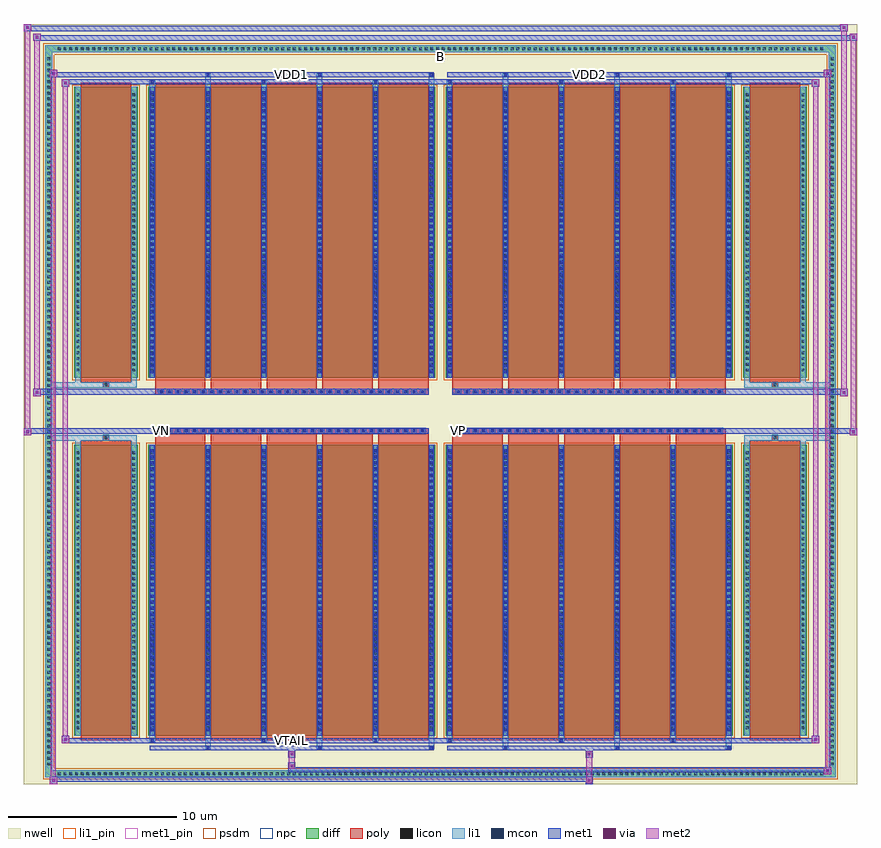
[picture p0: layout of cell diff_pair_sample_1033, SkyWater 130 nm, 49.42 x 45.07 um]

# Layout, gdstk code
import gdstk
lib = gdstk.Library(unit=1e-6, precision=5e-09)
def R(c, l, rs):  # rectangles x0, y0, x1, y1
    for r in rs: c.add(gdstk.rectangle(r[:2], r[2:], *l))
def A(c, l, x, y, w, h, nx, ny, dx, dy):  # array of equal rectangles
    R(c, l, [(x+i*dx, y+j*dy, x+i*dx+w, y+j*dy+h) for i in range(nx) for j in range(ny)])
def P(c, l, *ps):  # polygons
    for p in ps: c.add(gdstk.Polygon(p, *l))
nwell = (64, 20)
diff = (65, 20)
poly = (66, 20)
licon = (66, 44)
li1_pin = (67, 16)
li1 = (67, 20)
mcon = (67, 44)
met1_pin = (68, 16)
met1 = (68, 20)
via = (68, 44)
met2 = (69, 20)
psdm = (94, 20)
npc = (95, 20)

diff_pair_sample_1033 = lib.new_cell('diff_pair_sample_1033')
R(diff_pair_sample_1033, nwell, [(-24.71,-22.1,24.71,22.97), (-22.03,-20.29,-0.01,-0.795), (0.01,-20.29,22.03,-0.795), (-22.03,0.795,-0.01,20.29), (0.01,0.795,22.03,20.29)])
A(diff_pair_sample_1033, diff, -22.815, -21.7, 0.41, 0.41, 134, 2, 0.34, 42.99)
A(diff_pair_sample_1033, diff, -23.44, -21.115, 0.41, 0.41, 1, 124, 0, 0.34)
A(diff_pair_sample_1033, diff, 23.03, -21.115, 0.41, 0.41, 1, 124, 0, 0.34)
R(diff_pair_sample_1033, diff, [(-22.815,-21.7,22.815,-21.29), (-23.44,-21.115,-23.03,21.115), (23.03,-21.115,23.44,21.115), (-21.72,-19.245,-17.96,-1.985), (-17.32,-19.245,-0.32,-1.985), (0.32,-19.245,17.32,-1.985), (17.96,-19.245,21.72,-1.985), (-21.72,1.985,-17.96,19.245), (-17.32,1.985,-0.32,19.245), (0.32,1.985,17.32,19.245), (17.96,1.985,21.72,19.245), (-22.815,21.29,22.815,21.7)])
P(diff_pair_sample_1033, diff, [(23.44,21.7),(-23.44,21.7),(-23.44,-21.29),(-23.03,-21.29),(-23.03,21.29),(23.03,21.29),(23.03,-21.29),(-23.03,-21.29),(-23.44,-21.29),(-23.44,-21.7),(23.44,-21.7)])
A(diff_pair_sample_1033, poly, -16.93, -19.495, 2.98, 17.76, 5, 2, 3.31, 21.23)
A(diff_pair_sample_1033, poly, 0.71, -19.495, 2.98, 17.76, 5, 2, 3.31, 21.23)
A(diff_pair_sample_1033, poly, -16.93, -1.735, 2.98, 0.41, 5, 2, 3.31, 3.06)
A(diff_pair_sample_1033, poly, 0.71, -1.735, 2.98, 0.41, 5, 2, 3.31, 3.06)
A(diff_pair_sample_1033, poly, -16.735, -1.325, 0.33, 0.33, 32, 2, 0.5, 2.32)
A(diff_pair_sample_1033, poly, 0.905, -1.325, 0.33, 0.33, 32, 2, 0.5, 2.32)
R(diff_pair_sample_1033, poly, [(-21.33,-19.495,-18.35,-1.735), (18.35,-19.495,21.33,-1.735), (-20.005,-1.735,-19.675,-1.405), (-20.005,-1.735,-19.675,-1.405), (19.675,-1.735,20.005,-1.405), (19.675,-1.735,20.005,-1.405), (-16.93,-1.325,-0.71,-0.995), (0.71,-1.325,16.93,-0.995), (-16.93,0.995,-0.71,1.325), (0.71,0.995,16.93,1.325), (-20.005,1.405,-19.675,1.735), (-20.005,1.405,-19.675,1.735), (19.675,1.405,20.005,1.735), (19.675,1.405,20.005,1.735), (-21.33,1.735,-18.35,19.495), (18.35,1.735,21.33,19.495)])
A(diff_pair_sample_1033, licon, -22.695, -21.58, 0.17, 0.17, 134, 2, 0.34, 42.99)
A(diff_pair_sample_1033, licon, -23.32, -20.995, 0.17, 0.17, 1, 124, 0, 0.34)
A(diff_pair_sample_1033, licon, 23.15, -20.995, 0.17, 0.17, 1, 124, 0, 0.34)
A(diff_pair_sample_1033, licon, -21.58, -18.86, 0.17, 0.17, 1, 49, 0, 0.34)
A(diff_pair_sample_1033, licon, -18.27, -18.86, 0.17, 0.17, 1, 49, 0, 0.34)
A(diff_pair_sample_1033, licon, -17.18, -18.86, 0.17, 0.17, 6, 49, 3.31, 0.34)
A(diff_pair_sample_1033, licon, 0.46, -18.86, 0.17, 0.17, 6, 49, 3.31, 0.34)
A(diff_pair_sample_1033, licon, 18.1, -18.86, 0.17, 0.17, 1, 49, 0, 0.34)
A(diff_pair_sample_1033, licon, 21.41, -18.86, 0.17, 0.17, 1, 49, 0, 0.34)
A(diff_pair_sample_1033, licon, -16.655, -1.245, 0.17, 0.17, 32, 2, 0.5, 2.32)
A(diff_pair_sample_1033, licon, 0.985, -1.245, 0.17, 0.17, 32, 2, 0.5, 2.32)
A(diff_pair_sample_1033, licon, -21.58, 2.37, 0.17, 0.17, 1, 49, 0, 0.34)
A(diff_pair_sample_1033, licon, -18.27, 2.37, 0.17, 0.17, 1, 49, 0, 0.34)
A(diff_pair_sample_1033, licon, -17.18, 2.37, 0.17, 0.17, 6, 49, 3.31, 0.34)
A(diff_pair_sample_1033, licon, 0.46, 2.37, 0.17, 0.17, 6, 49, 3.31, 0.34)
A(diff_pair_sample_1033, licon, 18.1, 2.37, 0.17, 0.17, 1, 49, 0, 0.34)
A(diff_pair_sample_1033, licon, 21.41, 2.37, 0.17, 0.17, 1, 49, 0, 0.34)
R(diff_pair_sample_1033, licon, [(-19.925,-1.655,-19.755,-1.485), (19.755,-1.655,19.925,-1.485), (-19.925,1.485,-19.755,1.655), (19.755,1.485,19.925,1.655)])
R(diff_pair_sample_1033, li1_pin, [(-0.25,20.79,0.25,21.29)])
A(diff_pair_sample_1033, li1, -22.775, -21.66, 0.33, 0.33, 134, 2, 0.34, 42.99)
A(diff_pair_sample_1033, li1, -23.4, -21.075, 0.33, 0.33, 1, 124, 0, 0.34)
A(diff_pair_sample_1033, li1, 23.07, -21.075, 0.33, 0.33, 1, 124, 0, 0.34)
A(diff_pair_sample_1033, li1, -13.95, -20.05, 0.33, 0.805, 3, 2, 6.62, 39.295)
A(diff_pair_sample_1033, li1, -13.87, -20.05, 0.17, 0.17, 3, 2, 6.62, 39.93)
A(diff_pair_sample_1033, li1, 3.69, -20.05, 0.33, 0.805, 3, 2, 6.62, 39.295)
A(diff_pair_sample_1033, li1, 3.77, -20.05, 0.17, 0.17, 3, 2, 6.62, 39.93)
A(diff_pair_sample_1033, li1, -17.26, -19.62, 0.33, 0.375, 3, 2, 6.62, 38.865)
A(diff_pair_sample_1033, li1, -17.18, -19.62, 0.17, 0.17, 3, 2, 6.62, 39.07)
A(diff_pair_sample_1033, li1, 0.38, -19.62, 0.33, 0.375, 3, 2, 6.62, 38.865)
A(diff_pair_sample_1033, li1, 0.46, -19.62, 0.17, 0.17, 3, 2, 6.62, 39.07)
A(diff_pair_sample_1033, li1, -17.26, -19.245, 0.33, 17.26, 6, 2, 3.31, 21.23)
A(diff_pair_sample_1033, li1, 0.38, -19.245, 0.33, 17.26, 6, 2, 3.31, 21.23)
A(diff_pair_sample_1033, li1, -17.18, -18.98, 0.17, 0.17, 6, 47, 3.31, 0.36)
A(diff_pair_sample_1033, li1, -17.18, -18.98, 0.17, 16.73, 6, 2, 3.31, 21.23)
A(diff_pair_sample_1033, li1, 0.46, -18.98, 0.17, 0.17, 6, 47, 3.31, 0.36)
A(diff_pair_sample_1033, li1, 0.46, -18.98, 0.17, 16.73, 6, 2, 3.31, 21.23)
A(diff_pair_sample_1033, li1, -21.66, -18.94, 0.33, 0.33, 1, 49, 0, 0.34)
A(diff_pair_sample_1033, li1, -18.35, -18.94, 0.33, 0.33, 1, 49, 0, 0.34)
A(diff_pair_sample_1033, li1, -17.26, -18.94, 0.33, 0.33, 6, 49, 3.31, 0.34)
A(diff_pair_sample_1033, li1, 0.38, -18.94, 0.33, 0.33, 6, 49, 3.31, 0.34)
A(diff_pair_sample_1033, li1, 18.02, -18.94, 0.33, 0.33, 1, 49, 0, 0.34)
A(diff_pair_sample_1033, li1, 21.33, -18.94, 0.33, 0.33, 1, 49, 0, 0.34)
A(diff_pair_sample_1033, li1, -16.735, -1.325, 0.33, 0.33, 32, 2, 0.5, 2.32)
A(diff_pair_sample_1033, li1, 0.905, -1.325, 0.33, 0.33, 32, 2, 0.5, 2.32)
A(diff_pair_sample_1033, li1, -17.18, 2.25, 0.17, 0.17, 6, 47, 3.31, 0.36)
A(diff_pair_sample_1033, li1, 0.46, 2.25, 0.17, 0.17, 6, 47, 3.31, 0.36)
A(diff_pair_sample_1033, li1, -21.66, 2.29, 0.33, 0.33, 1, 49, 0, 0.34)
A(diff_pair_sample_1033, li1, -18.35, 2.29, 0.33, 0.33, 1, 49, 0, 0.34)
A(diff_pair_sample_1033, li1, -17.26, 2.29, 0.33, 0.33, 6, 49, 3.31, 0.34)
A(diff_pair_sample_1033, li1, 0.38, 2.29, 0.33, 0.33, 6, 49, 3.31, 0.34)
A(diff_pair_sample_1033, li1, 18.02, 2.29, 0.33, 0.33, 1, 49, 0, 0.34)
A(diff_pair_sample_1033, li1, 21.33, 2.29, 0.33, 0.33, 1, 49, 0, 0.34)
R(diff_pair_sample_1033, li1, [(-23.44,-21.7,-23.03,-21.29), (-23.44,-21.7,-23.03,-21.29), (-23.03,-21.7,23.03,-21.29), (23.03,-21.7,23.44,-21.29), (23.03,-21.7,23.44,-21.29), (-23.44,-21.29,-23.03,21.29), (23.03,-21.29,23.44,21.29), (-21.66,-19.245,-21.33,-1.985), (-18.35,-19.245,-18.02,-1.985), (18.02,-19.245,18.35,-1.985), (21.33,-19.245,21.66,-1.985), (-21.66,-1.985,-21.33,-1.405), (-18.35,-1.985,-18.02,-1.405), (18.02,-1.985,18.35,-1.405), (21.33,-1.985,21.66,-1.405), (-23.44,-1.735,-20.005,-1.405), (-21.66,-1.735,-20.005,-1.405), (-20.005,-1.735,-19.675,-1.405), (-19.675,-1.735,-18.02,-1.405), (18.02,-1.735,19.675,-1.405), (19.675,-1.735,20.005,-1.405), (19.675,-1.735,23.44,-1.405), (20.005,-1.735,21.66,-1.405), (-23.44,1.405,-20.005,1.735), (-21.66,1.405,-20.005,1.735), (-21.66,1.405,-21.33,1.985), (-20.005,1.405,-19.675,1.735), (-19.675,1.405,-18.02,1.735), (-18.35,1.405,-18.02,1.985), (18.02,1.405,19.675,1.735), (18.02,1.405,18.35,1.985), (19.675,1.405,20.005,1.735), (19.675,1.405,23.44,1.735), (20.005,1.405,21.66,1.735), (21.33,1.405,21.66,1.985), (-21.66,1.985,-21.33,19.245), (-18.35,1.985,-18.02,19.245), (18.02,1.985,18.35,19.245), (21.33,1.985,21.66,19.245), (-23.44,21.29,-23.03,21.7), (-23.44,21.29,-23.03,21.7), (-23.03,21.29,23.03,21.7), (23.03,21.29,23.44,21.7), (23.03,21.29,23.44,21.7)])
A(diff_pair_sample_1033, mcon, -13.87, -20.05, 0.17, 0.17, 3, 2, 6.62, 39.93)
A(diff_pair_sample_1033, mcon, 3.77, -20.05, 0.17, 0.17, 3, 2, 6.62, 39.93)
A(diff_pair_sample_1033, mcon, -17.18, -19.62, 0.17, 0.17, 3, 2, 6.62, 39.07)
A(diff_pair_sample_1033, mcon, 0.46, -19.62, 0.17, 0.17, 3, 2, 6.62, 39.07)
A(diff_pair_sample_1033, mcon, -17.18, -18.98, 0.17, 0.17, 6, 47, 3.31, 0.36)
A(diff_pair_sample_1033, mcon, 0.46, -18.98, 0.17, 0.17, 6, 47, 3.31, 0.36)
A(diff_pair_sample_1033, mcon, -16.655, -1.245, 0.17, 0.17, 32, 2, 0.5, 2.32)
A(diff_pair_sample_1033, mcon, 0.985, -1.245, 0.17, 0.17, 32, 2, 0.5, 2.32)
A(diff_pair_sample_1033, mcon, -17.18, 2.25, 0.17, 0.17, 6, 47, 3.31, 0.36)
A(diff_pair_sample_1033, mcon, 0.46, 2.25, 0.17, 0.17, 6, 47, 3.31, 0.36)
R(diff_pair_sample_1033, met1_pin, [(-8.955,-19.66,-8.685,-19.39), (-16.705,-1.285,-16.435,-1.015), (0.935,-1.285,1.205,-1.015), (-8.955,19.84,-8.685,20.11), (8.685,19.84,8.955,20.11)])
A(diff_pair_sample_1033, met1, -13.93, -20.11, 0.29, 0.29, 3, 2, 6.62, 39.93)
A(diff_pair_sample_1033, met1, 3.71, -20.11, 0.29, 0.29, 3, 2, 6.62, 39.93)
A(diff_pair_sample_1033, met1, -17.24, -19.68, 0.29, 0.29, 3, 2, 6.62, 39.07)
A(diff_pair_sample_1033, met1, 0.4, -19.68, 0.29, 0.29, 3, 2, 6.62, 39.07)
A(diff_pair_sample_1033, met1, -17.24, -19.245, 0.29, 17.26, 6, 2, 3.31, 21.23)
A(diff_pair_sample_1033, met1, 0.4, -19.245, 0.29, 17.26, 6, 2, 3.31, 21.23)
A(diff_pair_sample_1033, met1, -17.24, -19.04, 0.29, 0.29, 6, 47, 3.31, 0.36)
A(diff_pair_sample_1033, met1, 0.4, -19.04, 0.29, 0.29, 6, 47, 3.31, 0.36)
A(diff_pair_sample_1033, met1, -16.715, -1.305, 0.29, 0.29, 32, 2, 0.5, 2.32)
A(diff_pair_sample_1033, met1, 0.925, -1.305, 0.29, 0.29, 32, 2, 0.5, 2.32)
A(diff_pair_sample_1033, met1, -17.24, 2.19, 0.29, 0.29, 6, 47, 3.31, 0.36)
A(diff_pair_sample_1033, met1, 0.4, 2.19, 0.29, 0.29, 6, 47, 3.31, 0.36)
R(diff_pair_sample_1033, met1, [(-23.17,-22.1,-22.74,-21.67), (8.605,-22.1,9.035,-21.67), (-23.17,-21.96,9.035,-21.67), (22.74,-21.53,23.17,-21.1), (-9.035,-21.39,23.17,-21.1), (-9.035,-21.25,-8.605,-20.82), (-9.035,-20.54,-8.605,-20.11), (8.605,-20.54,9.035,-20.11), (-17.24,-20.11,-0.4,-19.82), (0.4,-20.11,17.24,-19.82), (-22.46,-19.68,-22.03,-19.25), (-22.46,-19.68,-17.24,-19.39), (-17.24,-19.68,-0.4,-19.39), (-0.4,-19.68,0.4,-19.39), (0.4,-19.68,17.24,-19.39), (17.24,-19.68,22.46,-19.39), (22.03,-19.68,22.46,-19.25), (-24.71,-1.425,-24.28,-0.995), (24.28,-1.425,24.71,-0.995), (-24.71,-1.325,-0.71,-0.995), (-16.93,-1.325,-0.71,-0.995), (0.71,-1.325,16.93,-0.995), (0.71,-1.325,24.71,-0.995), (-24.14,0.895,-23.71,1.325), (23.71,0.895,24.14,1.325), (-24.14,0.995,-16.93,1.325), (-16.93,0.995,-0.71,1.325), (0.71,0.995,16.93,1.325), (16.93,0.995,24.14,1.325), (-22.46,19.25,-22.03,19.68), (22.03,19.25,22.46,19.68), (-22.46,19.39,-17.24,19.68), (-17.24,19.39,-0.4,19.68), (-0.4,19.39,0.4,19.68), (0.4,19.39,17.24,19.68), (17.24,19.39,22.46,19.68), (-23.17,19.82,-22.74,20.25), (-23.17,19.82,-17.24,20.11), (-17.24,19.82,-0.4,20.11), (0.4,19.82,17.24,20.11), (17.24,19.82,23.17,20.11), (22.74,19.82,23.17,20.25), (-24.14,21.97,-23.71,22.4), (-24.14,21.97,-22.03,22.3), (-22.03,21.97,22.03,22.3), (22.03,21.97,24.71,22.3), (24.28,21.97,24.71,22.4), (-24.71,22.54,-24.28,22.97), (-24.71,22.54,-22.03,22.87), (-22.03,22.54,22.03,22.87), (22.03,22.54,24.14,22.87), (23.71,22.54,24.14,22.97)])
R(diff_pair_sample_1033, via, [(-23.03,-21.96,-22.88,-21.81), (8.745,-21.96,8.895,-21.81), (22.88,-21.39,23.03,-21.24), (-8.895,-21.11,-8.745,-20.96), (-8.895,-20.4,-8.745,-20.25), (8.745,-20.4,8.895,-20.25), (-22.32,-19.54,-22.17,-19.39), (22.17,-19.54,22.32,-19.39), (-24.57,-1.285,-24.42,-1.135), (24.42,-1.285,24.57,-1.135), (-24,1.035,-23.85,1.185), (23.85,1.035,24,1.185), (-22.32,19.39,-22.17,19.54), (22.17,19.39,22.32,19.54), (-23.03,19.96,-22.88,20.11), (22.88,19.96,23.03,20.11), (-24,22.11,-23.85,22.26), (24.42,22.11,24.57,22.26), (-24.57,22.68,-24.42,22.83), (23.85,22.68,24,22.83)])
R(diff_pair_sample_1033, met2, [(-23.17,-22.1,-22.74,-21.67), (-23.1,-22.1,-22.81,20.25), (-22.81,-22.1,-22.74,-21.67), (-23.12,-22.05,-22.79,-21.72), (8.655,-22.05,8.985,-21.72), (8.655,-21.72,8.985,-20.49), (22.74,-21.53,23.17,-21.1), (22.81,-21.53,23.1,20.25), (23.1,-21.53,23.17,-21.1), (22.79,-21.48,23.12,-21.15), (-8.985,-21.2,-8.655,-20.87), (-8.985,-20.87,-8.655,-20.49), (-8.985,-20.49,-8.655,-20.16), (8.655,-20.49,8.985,-20.16), (-22.46,-19.68,-22.03,-19.25), (-22.39,-19.68,-22.1,19.68), (-22.1,-19.68,-22.03,-19.25), (22.03,-19.68,22.46,-19.25), (22.1,-19.68,22.39,19.68), (22.39,-19.68,22.46,-19.25), (-22.41,-19.63,-22.08,-19.3), (22.08,-19.63,22.41,-19.3), (-24.71,-1.425,-24.28,-0.995), (-24.66,-1.425,-24.33,22.97), (-24.33,-1.425,-24.28,-0.995), (24.28,-1.425,24.71,-0.995), (24.33,-1.425,24.66,22.4), (24.66,-1.425,24.71,-0.995), (-24.66,-1.375,-24.33,-1.045), (24.33,-1.375,24.66,-1.045), (-24.14,0.895,-23.71,1.325), (-24.09,0.895,-23.76,22.4), (-23.76,0.895,-23.71,1.325), (23.71,0.895,24.14,1.325), (23.76,0.895,24.09,22.97), (24.09,0.895,24.14,1.325), (-24.09,0.945,-23.76,1.275), (23.76,0.945,24.09,1.275), (-22.46,19.25,-22.03,19.68), (-22.1,19.25,-22.03,19.68), (22.03,19.25,22.46,19.68), (22.39,19.25,22.46,19.68), (-22.41,19.3,-22.08,19.63), (22.08,19.3,22.41,19.63), (-23.17,19.82,-22.74,20.25), (-22.81,19.82,-22.74,20.25), (22.74,19.82,23.17,20.25), (23.1,19.82,23.17,20.25), (-23.12,19.87,-22.79,20.2), (22.79,19.87,23.12,20.2), (-24.14,21.97,-23.71,22.4), (-23.76,21.97,-23.71,22.4), (24.28,21.97,24.71,22.4), (24.66,21.97,24.71,22.4), (-24.09,22.02,-23.76,22.35), (24.33,22.02,24.66,22.35), (-24.71,22.54,-24.28,22.97), (-24.33,22.54,-24.28,22.97), (23.71,22.54,24.14,22.97), (24.09,22.54,24.14,22.97), (-24.66,22.59,-24.33,22.92), (23.76,22.59,24.09,22.92)])
R(diff_pair_sample_1033, psdm, [(-21.85,-19.375,-17.83,-1.855), (-17.45,-19.375,-0.19,-1.855), (0.19,-19.375,17.45,-1.855), (17.83,-19.375,21.85,-1.855), (-21.85,1.855,-17.83,19.375), (-17.45,1.855,-0.19,19.375), (0.19,1.855,17.45,19.375), (17.83,1.855,21.85,19.375)])
P(diff_pair_sample_1033, psdm, [(23.57,21.83),(-23.57,21.83),(-23.57,-21.16),(-22.9,-21.16),(-22.9,21.16),(22.9,21.16),(22.9,-21.16),(-22.9,-21.16),(-23.57,-21.16),(-23.57,-21.83),(23.57,-21.83)])
A(diff_pair_sample_1033, npc, -16.755, -1.345, 0.37, 0.37, 32, 2, 0.5, 2.32)
A(diff_pair_sample_1033, npc, 0.885, -1.345, 0.37, 0.37, 32, 2, 0.5, 2.32)
R(diff_pair_sample_1033, npc, [(-20.025,-1.755,-19.655,-1.385), (19.655,-1.755,20.025,-1.385), (-16.755,-1.345,-15.885,-0.975), (-16.755,-1.345,-15.885,-0.975), (-16.255,-1.345,-15.385,-0.975), (-16.255,-1.345,-15.385,-0.975), (-15.755,-1.345,-14.885,-0.975), (-15.755,-1.345,-14.885,-0.975), (-15.255,-1.345,-14.385,-0.975), (-15.255,-1.345,-14.385,-0.975), (-14.755,-1.345,-13.885,-0.975), (-14.755,-1.345,-13.885,-0.975), (-14.255,-1.345,-13.385,-0.975), (-14.255,-1.345,-13.385,-0.975), (-13.755,-1.345,-12.885,-0.975), (-13.755,-1.345,-12.885,-0.975), (-13.255,-1.345,-12.385,-0.975), (-13.255,-1.345,-12.385,-0.975), (-12.755,-1.345,-11.885,-0.975), (-12.755,-1.345,-11.885,-0.975), (-12.255,-1.345,-11.385,-0.975), (-12.255,-1.345,-11.385,-0.975), (-11.755,-1.345,-10.885,-0.975), (-11.755,-1.345,-10.885,-0.975), (-11.255,-1.345,-10.385,-0.975), (-11.255,-1.345,-10.385,-0.975), (-10.755,-1.345,-9.885,-0.975), (-10.755,-1.345,-9.885,-0.975), (-10.255,-1.345,-9.385,-0.975), (-10.255,-1.345,-9.385,-0.975), (-9.755,-1.345,-8.885,-0.975), (-9.755,-1.345,-8.885,-0.975), (-9.255,-1.345,-8.385,-0.975), (-9.255,-1.345,-8.385,-0.975), (-8.755,-1.345,-7.885,-0.975), (-8.755,-1.345,-7.885,-0.975), (-8.255,-1.345,-7.385,-0.975), (-8.255,-1.345,-7.385,-0.975), (-7.755,-1.345,-6.885,-0.975), (-7.755,-1.345,-6.885,-0.975), (-7.255,-1.345,-6.385,-0.975), (-7.255,-1.345,-6.385,-0.975), (-6.755,-1.345,-5.885,-0.975), (-6.755,-1.345,-5.885,-0.975), (-6.255,-1.345,-5.385,-0.975), (-6.255,-1.345,-5.385,-0.975), (-5.755,-1.345,-4.885,-0.975), (-5.755,-1.345,-4.885,-0.975), (-5.255,-1.345,-4.385,-0.975), (-5.255,-1.345,-4.385,-0.975), (-4.755,-1.345,-3.885,-0.975), (-4.755,-1.345,-3.885,-0.975), (-4.255,-1.345,-3.385,-0.975), (-4.255,-1.345,-3.385,-0.975), (-3.755,-1.345,-2.885,-0.975), (-3.755,-1.345,-2.885,-0.975), (-3.255,-1.345,-2.385,-0.975), (-3.255,-1.345,-2.385,-0.975), (-2.755,-1.345,-1.885,-0.975), (-2.755,-1.345,-1.885,-0.975), (-2.255,-1.345,-1.385,-0.975), (-2.255,-1.345,-1.385,-0.975), (-1.755,-1.345,-0.885,-0.975), (-1.755,-1.345,-0.885,-0.975), (0.885,-1.345,1.755,-0.975), (0.885,-1.345,1.755,-0.975), (1.385,-1.345,2.255,-0.975), (1.385,-1.345,2.255,-0.975), (1.885,-1.345,2.755,-0.975), (1.885,-1.345,2.755,-0.975), (2.385,-1.345,3.255,-0.975), (2.385,-1.345,3.255,-0.975), (2.885,-1.345,3.755,-0.975), (2.885,-1.345,3.755,-0.975), (3.385,-1.345,4.255,-0.975), (3.385,-1.345,4.255,-0.975), (3.885,-1.345,4.755,-0.975), (3.885,-1.345,4.755,-0.975), (4.385,-1.345,5.255,-0.975), (4.385,-1.345,5.255,-0.975), (4.885,-1.345,5.755,-0.975), (4.885,-1.345,5.755,-0.975), (5.385,-1.345,6.255,-0.975), (5.385,-1.345,6.255,-0.975), (5.885,-1.345,6.755,-0.975), (5.885,-1.345,6.755,-0.975), (6.385,-1.345,7.255,-0.975), (6.385,-1.345,7.255,-0.975), (6.885,-1.345,7.755,-0.975), (6.885,-1.345,7.755,-0.975), (7.385,-1.345,8.255,-0.975), (7.385,-1.345,8.255,-0.975), (7.885,-1.345,8.755,-0.975), (7.885,-1.345,8.755,-0.975), (8.385,-1.345,9.255,-0.975), (8.385,-1.345,9.255,-0.975), (8.885,-1.345,9.755,-0.975), (8.885,-1.345,9.755,-0.975), (9.385,-1.345,10.255,-0.975), (9.385,-1.345,10.255,-0.975), (9.885,-1.345,10.755,-0.975), (9.885,-1.345,10.755,-0.975), (10.385,-1.345,11.255,-0.975), (10.385,-1.345,11.255,-0.975), (10.885,-1.345,11.755,-0.975), (10.885,-1.345,11.755,-0.975), (11.385,-1.345,12.255,-0.975), (11.385,-1.345,12.255,-0.975), (11.885,-1.345,12.755,-0.975), (11.885,-1.345,12.755,-0.975), (12.385,-1.345,13.255,-0.975), (12.385,-1.345,13.255,-0.975), (12.885,-1.345,13.755,-0.975), (12.885,-1.345,13.755,-0.975), (13.385,-1.345,14.255,-0.975), (13.385,-1.345,14.255,-0.975), (13.885,-1.345,14.755,-0.975), (13.885,-1.345,14.755,-0.975), (14.385,-1.345,15.255,-0.975), (14.385,-1.345,15.255,-0.975), (14.885,-1.345,15.755,-0.975), (14.885,-1.345,15.755,-0.975), (15.385,-1.345,16.255,-0.975), (15.385,-1.345,16.255,-0.975), (15.885,-1.345,16.755,-0.975), (15.885,-1.345,16.755,-0.975), (-16.755,0.975,-15.885,1.345), (-16.755,0.975,-15.885,1.345), (-16.255,0.975,-15.385,1.345), (-16.255,0.975,-15.385,1.345), (-15.755,0.975,-14.885,1.345), (-15.755,0.975,-14.885,1.345), (-15.255,0.975,-14.385,1.345), (-15.255,0.975,-14.385,1.345), (-14.755,0.975,-13.885,1.345), (-14.755,0.975,-13.885,1.345), (-14.255,0.975,-13.385,1.345), (-14.255,0.975,-13.385,1.345), (-13.755,0.975,-12.885,1.345), (-13.755,0.975,-12.885,1.345), (-13.255,0.975,-12.385,1.345), (-13.255,0.975,-12.385,1.345), (-12.755,0.975,-11.885,1.345), (-12.755,0.975,-11.885,1.345), (-12.255,0.975,-11.385,1.345), (-12.255,0.975,-11.385,1.345), (-11.755,0.975,-10.885,1.345), (-11.755,0.975,-10.885,1.345), (-11.255,0.975,-10.385,1.345), (-11.255,0.975,-10.385,1.345), (-10.755,0.975,-9.885,1.345), (-10.755,0.975,-9.885,1.345), (-10.255,0.975,-9.385,1.345), (-10.255,0.975,-9.385,1.345), (-9.755,0.975,-8.885,1.345), (-9.755,0.975,-8.885,1.345), (-9.255,0.975,-8.385,1.345), (-9.255,0.975,-8.385,1.345), (-8.755,0.975,-7.885,1.345), (-8.755,0.975,-7.885,1.345), (-8.255,0.975,-7.385,1.345), (-8.255,0.975,-7.385,1.345), (-7.755,0.975,-6.885,1.345), (-7.755,0.975,-6.885,1.345), (-7.255,0.975,-6.385,1.345), (-7.255,0.975,-6.385,1.345), (-6.755,0.975,-5.885,1.345), (-6.755,0.975,-5.885,1.345), (-6.255,0.975,-5.385,1.345), (-6.255,0.975,-5.385,1.345), (-5.755,0.975,-4.885,1.345), (-5.755,0.975,-4.885,1.345), (-5.255,0.975,-4.385,1.345), (-5.255,0.975,-4.385,1.345), (-4.755,0.975,-3.885,1.345), (-4.755,0.975,-3.885,1.345), (-4.255,0.975,-3.385,1.345), (-4.255,0.975,-3.385,1.345), (-3.755,0.975,-2.885,1.345), (-3.755,0.975,-2.885,1.345), (-3.255,0.975,-2.385,1.345), (-3.255,0.975,-2.385,1.345), (-2.755,0.975,-1.885,1.345), (-2.755,0.975,-1.885,1.345), (-2.255,0.975,-1.385,1.345), (-2.255,0.975,-1.385,1.345), (-1.755,0.975,-0.885,1.345), (-1.755,0.975,-0.885,1.345), (0.885,0.975,1.755,1.345), (0.885,0.975,1.755,1.345), (1.385,0.975,2.255,1.345), (1.385,0.975,2.255,1.345), (1.885,0.975,2.755,1.345), (1.885,0.975,2.755,1.345), (2.385,0.975,3.255,1.345), (2.385,0.975,3.255,1.345), (2.885,0.975,3.755,1.345), (2.885,0.975,3.755,1.345), (3.385,0.975,4.255,1.345), (3.385,0.975,4.255,1.345), (3.885,0.975,4.755,1.345), (3.885,0.975,4.755,1.345), (4.385,0.975,5.255,1.345), (4.385,0.975,5.255,1.345), (4.885,0.975,5.755,1.345), (4.885,0.975,5.755,1.345), (5.385,0.975,6.255,1.345), (5.385,0.975,6.255,1.345), (5.885,0.975,6.755,1.345), (5.885,0.975,6.755,1.345), (6.385,0.975,7.255,1.345), (6.385,0.975,7.255,1.345), (6.885,0.975,7.755,1.345), (6.885,0.975,7.755,1.345), (7.385,0.975,8.255,1.345), (7.385,0.975,8.255,1.345), (7.885,0.975,8.755,1.345), (7.885,0.975,8.755,1.345), (8.385,0.975,9.255,1.345), (8.385,0.975,9.255,1.345), (8.885,0.975,9.755,1.345), (8.885,0.975,9.755,1.345), (9.385,0.975,10.255,1.345), (9.385,0.975,10.255,1.345), (9.885,0.975,10.755,1.345), (9.885,0.975,10.755,1.345), (10.385,0.975,11.255,1.345), (10.385,0.975,11.255,1.345), (10.885,0.975,11.755,1.345), (10.885,0.975,11.755,1.345), (11.385,0.975,12.255,1.345), (11.385,0.975,12.255,1.345), (11.885,0.975,12.755,1.345), (11.885,0.975,12.755,1.345), (12.385,0.975,13.255,1.345), (12.385,0.975,13.255,1.345), (12.885,0.975,13.755,1.345), (12.885,0.975,13.755,1.345), (13.385,0.975,14.255,1.345), (13.385,0.975,14.255,1.345), (13.885,0.975,14.755,1.345), (13.885,0.975,14.755,1.345), (14.385,0.975,15.255,1.345), (14.385,0.975,15.255,1.345), (14.885,0.975,15.755,1.345), (14.885,0.975,15.755,1.345), (15.385,0.975,16.255,1.345), (15.385,0.975,16.255,1.345), (15.885,0.975,16.755,1.345), (15.885,0.975,16.755,1.345), (-20.025,1.385,-19.655,1.755), (19.655,1.385,20.025,1.755)])
diff_pair_sample_1033.add(gdstk.Label('VTAIL', (-8.82,-19.525), layer=68, texttype=5))
diff_pair_sample_1033.add(gdstk.Label('VN', (-16.57,-1.15), layer=68, texttype=5))
diff_pair_sample_1033.add(gdstk.Label('VP', (1.07,-1.15), layer=68, texttype=5))
diff_pair_sample_1033.add(gdstk.Label('B', (0,21.04), layer=67, texttype=5))
diff_pair_sample_1033.add(gdstk.Label('VDD2', (8.82,19.975), layer=68, texttype=5))
diff_pair_sample_1033.add(gdstk.Label('VDD1', (-8.82,19.975), layer=68, texttype=5))

lib.write_gds('diff_pair_sample_1033.gds')
